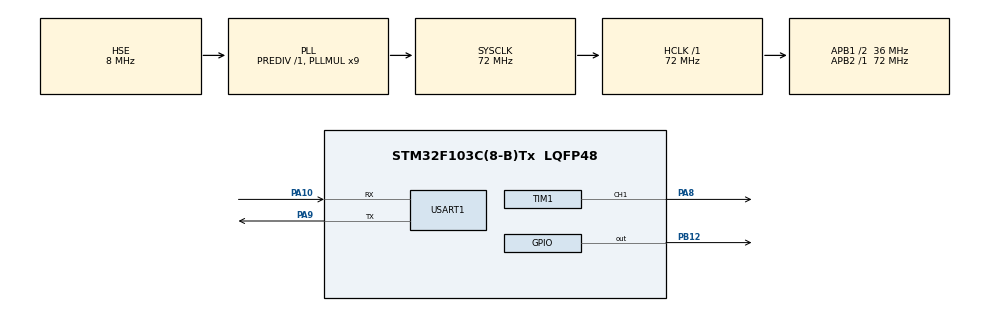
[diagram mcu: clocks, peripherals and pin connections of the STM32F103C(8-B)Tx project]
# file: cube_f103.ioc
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Dma.Request0=USART1_RX
Dma.Request1=TIM1_CH1
Dma.TIM1_CH1.1.Direction=DMA_MEMORY_TO_PERIPH
Dma.TIM1_CH1.1.Instance=DMA1_Channel2
Dma.TIM1_CH1.1.MemDataAlignment=DMA_MDATAALIGN_BYTE
Dma.TIM1_CH1.1.MemInc=DMA_MINC_ENABLE
Dma.TIM1_CH1.1.Mode=DMA_CIRCULAR
Dma.TIM1_CH1.1.PeriphDataAlignment=DMA_PDATAALIGN_HALFWORD
Dma.TIM1_CH1.1.PeriphInc=DMA_PINC_DISABLE
Dma.TIM1_CH1.1.Priority=DMA_PRIORITY_LOW
Dma.USART1_RX.0.Direction=DMA_PERIPH_TO_MEMORY
Dma.USART1_RX.0.Instance=DMA1_Channel5
Dma.USART1_RX.0.MemDataAlignment=DMA_MDATAALIGN_BYTE
Dma.USART1_RX.0.MemInc=DMA_MINC_ENABLE
Dma.USART1_RX.0.Mode=DMA_CIRCULAR
Dma.USART1_RX.0.PeriphDataAlignment=DMA_PDATAALIGN_BYTE
Dma.USART1_RX.0.PeriphInc=DMA_PINC_DISABLE
Dma.USART1_RX.0.Priority=DMA_PRIORITY_LOW
Mcu.Family=STM32F1
Mcu.Name=STM32F103C(8-B)Tx
Mcu.Package=LQFP48
NVIC.DMA1_Channel2_IRQn=true\:0\:0\:false\:false\:true\:false\:true
NVIC.DMA1_Channel5_IRQn=true\:5\:0\:true\:false\:true\:false\:true
NVIC.PriorityGroup=NVIC_PRIORITYGROUP_4
NVIC.USART1_IRQn=true\:5\:0\:true\:false\:true\:true\:true
PA10.Mode=Asynchronous
PA10.Signal=USART1_RX
PA13.Mode=Serial_Wire
PA13.Signal=SYS_JTMS-SWDIO
PA14.Mode=Serial_Wire
PA14.Signal=SYS_JTCK-SWCLK
PA8.Signal=S_TIM1_CH1
PA9.Mode=Asynchronous
PA9.Signal=USART1_TX
PB12.PinState=GPIO_PIN_SET
PB12.Signal=GPIO_Output
PC14-OSC32_IN.Mode=LSE-External-Oscillator
PC14-OSC32_IN.Signal=RCC_OSC32_IN
PC15-OSC32_OUT.Mode=LSE-External-Oscillator
PC15-OSC32_OUT.Signal=RCC_OSC32_OUT
PD0-OSC_IN.Mode=HSE-External-Oscillator
PD0-OSC_IN.Signal=RCC_OSC_IN
PD1-OSC_OUT.Mode=HSE-External-Oscillator
PD1-OSC_OUT.Signal=RCC_OSC_OUT
ProjectManager.HeapSize=0x200
ProjectManager.StackSize=0x400
ProjectManager.TargetToolchain=STM32CubeIDE
RCC.AHBFreq_Value=72000000
RCC.APB1CLKDivider=RCC_HCLK_DIV2
RCC.APB1Freq_Value=36000000
RCC.APB1TimFreq_Value=72000000
RCC.APB2Freq_Value=72000000
RCC.APB2TimFreq_Value=72000000
RCC.HCLKFreq_Value=72000000
RCC.PLLMUL=RCC_PLL_MUL9
RCC.PLLSourceVirtual=RCC_PLLSOURCE_HSE
RCC.RTCClockSelection=RCC_RTCCLKSOURCE_LSE
RCC.SYSCLKFreq_VALUE=72000000
RCC.SYSCLKSource=RCC_SYSCLKSOURCE_PLLCLK
RCC.USBFreq_Value=48000000
RCC.USBPrescaler=RCC_USBCLKSOURCE_PLL_DIV1_5
SH.S_TIM1_CH1.0=TIM1_CH1,PWM Generation1 CH1
TIM1.Channel-PWM\ Generation1\ CH1=TIM_CHANNEL_1
TIM1.Period=100
TIM1.Prescaler=0
TIM1.Pulse-PWM\ Generation1\ CH1=56
USART1.VirtualMode=VM_ASYNC
VP_RTC_VS_RTC_Activate.Mode=RTC_Enabled
VP_TIM1_VS_ClockSourceINT.Mode=Internal
board=custom

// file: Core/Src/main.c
/* USER CODE BEGIN Header */
/**
  ******************************************************************************
  * @file           : main.c
  * @brief          : Main program body
  ******************************************************************************
  * @attention
  *
  * <h2><center>&copy; Copyright (c) 2020 STMicroelectronics.
  * All rights reserved.</center></h2>
  *
  * This software component is licensed by ST under BSD 3-Clause license,
  * the "License"; You may not use this file except in compliance with the
  * License. You may obtain a copy of the License at:
  *                        opensource.org/licenses/BSD-3-Clause
  *
  ******************************************************************************
  */
/* USER CODE END Header */
#include "main.h"
#include "dma.h"
#include "rtc.h"
#include "tim.h"
#include "usart.h"
#include "gpio.h"

/* USER CODE BEGIN Includes */
#include <stdbool.h>
#include <stdint.h>
#include <stdio.h>
#include <string.h>
/* USER CODE END Includes */

/* USER CODE BEGIN PTD */
bool ws2812Init(void);
void ws2812Begin(uint32_t led_cnt);
void ws2812SetColor(uint32_t index, uint8_t red, uint8_t green, uint8_t blue);
/* USER CODE END PTD */

void SystemClock_Config(void);

int main(void)
{

  /* MCU Configuration--------------------------------------------------------*/

  /* Reset of all peripherals, Initializes the Flash interface and the Systick. */
  HAL_Init();

  /* Configure the system clock */
  SystemClock_Config();

  /* Initialize all configured peripherals */
  MX_GPIO_Init();
  MX_DMA_Init();
  MX_RTC_Init();
  MX_USART1_UART_Init();
  MX_TIM1_Init();
  /* USER CODE BEGIN 2 */
  ws2812Init();
  ws2812Begin(8);

  uint32_t pre_time;
  uint32_t led_index = 0;
  int32_t  led_index_pre = -1;
  uint8_t led_color = 0;

  /* USER CODE END 2 */

  /* Infinite loop */
  while (1)
  {

    /* USER CODE BEGIN 3 */

    if (HAL_GetTick()-pre_time >= 100)
    {
      pre_time = HAL_GetTick();

      if (led_color == 0) ws2812SetColor(led_index, 255, 0, 0);
      if (led_color == 1) ws2812SetColor(led_index, 0, 255, 0);
      if (led_color == 2) ws2812SetColor(led_index, 0, 0, 255);

      if (led_index_pre >= 0)
      {
        ws2812SetColor(led_index_pre, 0, 0, 0);
      }
      led_index_pre = led_index;
      led_index = (led_index + 1) % 8;

      if (led_index == 0)
      {
        led_color = (led_color + 1) % 3;
      }
    }
  }
  /* USER CODE END 3 */
}

void SystemClock_Config(void)
{
  RCC_OscInitTypeDef RCC_OscInitStruct = {0};
  RCC_ClkInitTypeDef RCC_ClkInitStruct = {0};
  RCC_PeriphCLKInitTypeDef PeriphClkInit = {0};

  /** Initializes the RCC Oscillators according to the specified parameters
  * in the RCC_OscInitTypeDef structure.
  */
  RCC_OscInitStruct.OscillatorType = RCC_OSCILLATORTYPE_HSE|RCC_OSCILLATORTYPE_LSE;
  RCC_OscInitStruct.HSEState = RCC_HSE_ON;
  RCC_OscInitStruct.HSEPredivValue = RCC_HSE_PREDIV_DIV1;
  RCC_OscInitStruct.LSEState = RCC_LSE_ON;
  RCC_OscInitStruct.HSIState = RCC_HSI_ON;
  RCC_OscInitStruct.PLL.PLLState = RCC_PLL_ON;
  RCC_OscInitStruct.PLL.PLLSource = RCC_PLLSOURCE_HSE;
  RCC_OscInitStruct.PLL.PLLMUL = RCC_PLL_MUL9;
  if (HAL_RCC_OscConfig(&RCC_OscInitStruct) != HAL_OK)
  {
    Error_Handler();
  }
  /** Initializes the CPU, AHB and APB buses clocks
  */
  RCC_ClkInitStruct.ClockType = RCC_CLOCKTYPE_HCLK|RCC_CLOCKTYPE_SYSCLK
                              |RCC_CLOCKTYPE_PCLK1|RCC_CLOCKTYPE_PCLK2;
  RCC_ClkInitStruct.SYSCLKSource = RCC_SYSCLKSOURCE_PLLCLK;
  RCC_ClkInitStruct.AHBCLKDivider = RCC_SYSCLK_DIV1;
  RCC_ClkInitStruct.APB1CLKDivider = RCC_HCLK_DIV2;
  RCC_ClkInitStruct.APB2CLKDivider = RCC_HCLK_DIV1;

  if (HAL_RCC_ClockConfig(&RCC_ClkInitStruct, FLASH_LATENCY_2) != HAL_OK)
  {
    Error_Handler();
  }
  PeriphClkInit.PeriphClockSelection = RCC_PERIPHCLK_RTC;
  PeriphClkInit.RTCClockSelection = RCC_RTCCLKSOURCE_LSE;
  if (HAL_RCCEx_PeriphCLKConfig(&PeriphClkInit) != HAL_OK)
  {
    Error_Handler();
  }
}

/* USER CODE BEGIN 4 */

#define BIT_PERIOD      (100)
#define BIT_HIGH        (50)
#define BIT_LOW         (28)
#define BIT_OFFSET       80
#define BIT_WIDTH        32
#define BIT_MAX_COUNT    64

bool is_init = false;

typedef struct
{
  uint16_t led_cnt;
} ws2812_t;

static uint8_t led_buf[BIT_OFFSET + BIT_WIDTH*BIT_MAX_COUNT];

ws2812_t ws2812;
extern TIM_HandleTypeDef htim1;

bool ws2812Init(void)
{
  memset(led_buf, 0, sizeof(led_buf));

  is_init = true;

  return true;
}

void ws2812Begin(uint32_t led_cnt)
{
  ws2812.led_cnt = led_cnt;

  for (int i=0; i<led_cnt; i++)
  {
    ws2812SetColor(i, 0, 0, 0);
  }

  HAL_TIM_PWM_Start_DMA(&htim1, TIM_CHANNEL_1, (uint32_t *)led_buf, (BIT_OFFSET + BIT_WIDTH * led_cnt) * 1);
  //HAL_TIM_PWM_Start(&htim1, TIM_CHANNEL_1);
}

void ws2812SetColor(uint32_t index, uint8_t red, uint8_t green, uint8_t blue)
{
  uint8_t r_bit[8];
  uint8_t g_bit[8];
  uint8_t b_bit[8];
  uint8_t w_bit[8];

  uint32_t offset;

  for (int i=0; i<8; i++)
  {
    if (red & (1<<7))
    {
      r_bit[i] = BIT_HIGH;
    }
    else
    {
      r_bit[i] = BIT_LOW;
    }
    red <<= 1;

    if (green & (1<<7))
    {
      g_bit[i] = BIT_HIGH;
    }
    else
    {
      g_bit[i] = BIT_LOW;
    }
    green <<= 1;

    if (blue & (1<<7))
    {
      b_bit[i] = BIT_HIGH;
    }
    else
    {
      b_bit[i] = BIT_LOW;
    }
    blue <<= 1;

    w_bit[i] = BIT_LOW;
  }

  offset = BIT_OFFSET;

  memcpy(&led_buf[offset + index*BIT_WIDTH + 8*0], g_bit, 8*1);
  memcpy(&led_buf[offset + index*BIT_WIDTH + 8*1], r_bit, 8*1);
  memcpy(&led_buf[offset + index*BIT_WIDTH + 8*2], b_bit, 8*1);
  memcpy(&led_buf[offset + index*BIT_WIDTH + 8*3], w_bit, 8*1);
}
/* USER CODE END 4 */

void Error_Handler(void)
{
}

/************************ (C) COPYRIGHT STMicroelectronics *****END OF FILE****/
